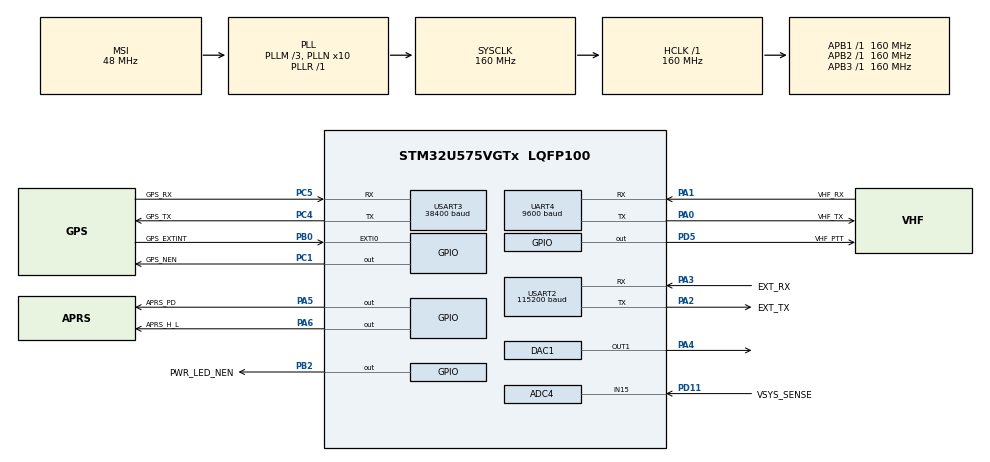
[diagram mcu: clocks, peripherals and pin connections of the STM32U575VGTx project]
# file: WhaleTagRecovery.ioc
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ADC4.NbrOfConversion=1
ADC4.NbrOfConversionFlag=0
ADC4.SelectedChannel=ADC_CHANNEL_15
CORTEX_M33_NS.userName=CORTEX_M33
DAC1.DAC_Channel-DAC_OUT1=DAC_CHANNEL_1
DAC1.DAC_HighFrequency=DAC_HIGH_FREQUENCY_INTERFACE_MODE_DISABLE
DAC1.DAC_OutputBuffer_OUT1-DAC_OUT1=DAC_OUTPUTBUFFER_ENABLE
DAC1.DAC_Trigger-DAC_OUT1=DAC_TRIGGER_T2_TRGO
GPDMA1.CIRCULARMODE_GPDMACH0=ENABLE
GPDMA1.CIRCULARMODE_GPDMACH1=ENABLE
GPDMA1.DESTDATAWIDTH_GPDMACH1=DMA_DEST_DATAWIDTH_WORD
GPDMA1.DESTINC_GPDMACH0=DMA_DINC_INCREMENTED
GPDMA1.DESTINC_GPDMACH1=DMA_DINC_FIXED
GPDMA1.DESTINC_GPDMACH2=DMA_DINC_INCREMENTED
GPDMA1.DIRECTION_GPDMACH1=DMA_MEMORY_TO_PERIPH
GPDMA1.IPHANDLE_GPDMACH0-SIMPLEREQUEST_GPDMACH0=__NULL
GPDMA1.IPHANDLE_GPDMACH1-SIMPLEREQUEST_GPDMACH1=__NULL
GPDMA1.IPHANDLE_GPDMACH2-SIMPLEREQUEST_GPDMACH2=__NULL
GPDMA1.LINKALLOCATEDPORT_CIRCULAR_GPDMACH0=DMA_LINK_ALLOCATED_PORT1
GPDMA1.PRIORITY_GPDMACH2=DMA_LOW_PRIORITY_MID_WEIGHT
GPDMA1.PRIORITY_LL_CIRCULAR_GPDMACH1=DMA_LOW_PRIORITY_HIGH_WEIGHT
GPDMA1.REQUEST_GPDMACH0=GPDMA1_REQUEST_USART3_RX
GPDMA1.REQUEST_GPDMACH1=GPDMA1_REQUEST_DAC1_CH1
GPDMA1.REQUEST_GPDMACH2=GPDMA1_REQUEST_USART2_RX
GPDMA1.SRCDATAWIDTH_GPDMACH1=DMA_SRC_DATAWIDTH_WORD
GPDMA1.SRCINC_GPDMACH1=DMA_SINC_INCREMENTED
GPDMA1.TRANSFERALLOCATEDPORTDEST_GPDMACH2=DMA_DEST_ALLOCATED_PORT1
GPDMA1.TRANSFERALLOCATEDPORTSRC_GPDMACH2=DMA_SRC_ALLOCATED_PORT1
Mcu.Family=STM32U5
Mcu.Name=STM32U575VGTx
Mcu.Package=LQFP100
NVIC.DAC1_IRQn=true\:0\:0\:false\:false\:true\:false\:true\:true\:true
NVIC.GPDMA1_Channel0_IRQn=true\:0\:0\:false\:false\:true\:true\:false\:true\:true
NVIC.GPDMA1_Channel1_IRQn=true\:0\:0\:false\:false\:true\:true\:false\:true\:true
NVIC.GPDMA1_Channel2_IRQn=true\:0\:0\:false\:false\:true\:true\:false\:true\:true
NVIC.PriorityGroup=NVIC_PRIORITYGROUP_4
NVIC.TIM2_IRQn=true\:0\:0\:false\:false\:true\:false\:true\:true\:true
NVIC.TIM6_IRQn=true\:15\:0\:false\:false\:true\:false\:false\:true\:true
NVIC.TimeBase=TIM6_IRQn
NVIC.TimeBaseIP=TIM6
NVIC.USART2_IRQn=true\:0\:0\:false\:false\:true\:false\:true\:true\:true
PA0.GPIO_Label=VHF_TX
PA0.Mode=Asynchronous
PA0.Signal=UART4_TX
PA1.GPIO_Label=VHF_RX
PA1.Mode=Asynchronous
PA1.Signal=UART4_RX
PA13\ (JTMS/SWDIO).Mode=Trace_Asynchronous_SW
PA13\ (JTMS/SWDIO).Signal=DEBUG_JTMS-SWDIO
PA14\ (JTCK/SWCLK).Mode=Trace_Asynchronous_SW
PA14\ (JTCK/SWCLK).Signal=DEBUG_JTCK-SWCLK
PA2.GPIO_Label=EXT_TX
PA2.Mode=Asynchronous
PA2.Signal=USART2_TX
PA3.GPIO_Label=EXT_RX
PA3.Mode=Asynchronous
PA3.Signal=USART2_RX
PA4.Signal=COMP_DAC11_group
PA5.GPIO_Label=APRS_PD
PA5.PinState=GPIO_PIN_RESET
PA5.Signal=GPIO_Output
PA6.GPIO_Label=APRS_H_L
PA6.Signal=GPIO_Output
PB0.GPIO_Label=GPS_EXTINT
PB0.Signal=GPXTI0
PB2.GPIO_Label=PWR_LED_NEN
PB2.PinState=GPIO_PIN_RESET
PB2.Signal=GPIO_Output
PB3\ (JTDO/TRACESWO).Mode=Trace_Asynchronous_SW
PB3\ (JTDO/TRACESWO).Signal=DEBUG_JTDO-SWO
PC1.GPIO_Label=GPS_NEN
PC1.PinState=GPIO_PIN_SET
PC1.Signal=GPIO_Output
PC4.GPIO_Label=GPS_TX
PC4.Mode=Asynchronous
PC4.Signal=USART3_TX
PC5.GPIO_Label=GPS_RX
PC5.Mode=Asynchronous
PC5.Signal=USART3_RX
PD11.GPIO_Label=VSYS_SENSE
PD11.Signal=SharedAnalog_PD11
PD5.GPIO_Label=VHF_PTT
PD5.Signal=GPIO_Output
ProjectManager.HeapSize=0x200
ProjectManager.StackSize=0x400
ProjectManager.TargetToolchain=STM32CubeIDE
RCC.ADCFreq_Value=16000000
RCC.AHBFreq_Value=160000000
RCC.APB1Freq_Value=160000000
RCC.APB1TimFreq_Value=160000000
RCC.APB2Freq_Value=160000000
RCC.APB2TimFreq_Value=160000000
RCC.APB3Freq_Value=160000000
RCC.CortexFreq_Value=160000000
RCC.EPOD_VALUE=48000000
RCC.FLatency=FLASH_LATENCY_4
RCC.HCLKFreq_Value=160000000
RCC.HSE_VALUE=16000000
RCC.HSI48_VALUE=48000000
RCC.HSI_VALUE=16000000
RCC.LSE_VALUE=32768
RCC.LSIDIV_VALUE=32000
RCC.MSICalibrationValue=16
RCC.MSIClockRange=RCC_MSIRANGE_0
RCC.MSI_VALUE=48000000
RCC.PLL1R=1
RCC.PLL2FRACN=0
RCC.PLL2M=3
RCC.PLL2N=8
RCC.PLL3FRACN=0
RCC.PLLFRACN=0
RCC.PLLM=3
RCC.PLLN=10
RCC.PWR_Regulator_Voltage_Scale=PWR_REGULATOR_VOLTAGE_SCALE1
RCC.SYSCLKFreq_VALUE=160000000
RCC.SYSCLKSource=RCC_SYSCLKSOURCE_PLLCLK
RCC.USBFreq_Value=48000000
RCC.VCOOutputFreq_Value=160000000
SH.COMP_DAC11_group.0=DAC1_OUT1,DAC_OUT1
SH.SharedAnalog_PD11.0=GPIO_Analog
SH.SharedAnalog_PD11.1=ADC4_IN15,IN15
THREADX.TX_APP_MEM_POOL_SIZE=20*1024
THREADX.TX_LOW_POWER=1
THREADX.TX_TIMER_TICKS_PER_SECOND=20000
TIM2.PeriodNoDither=45-1
TIM2.Prescaler=16-1
TIM2.TIM_MasterOutputTrigger=TIM_TRGO_UPDATE
UART4.BaudRate=9600
UART4.OverrunDisableParam=UART_ADVFEATURE_OVERRUN_DISABLE
USART2.AutonomousMode=AUTONOMOUS_MODE_DISABLE
USART2.BaudRate=115200
USART2.FIFOMode=FIFOMODE_ENABLE
USART2.VirtualMode-Asynchronous=VM_ASYNC
USART3.AutonomousMode=AUTONOMOUS_MODE_DISABLE
USART3.BaudRate=38400
USART3.FIFOMode=FIFOMODE_ENABLE
USART3.Mode=MODE_TX_RX
USART3.RXFIFOThreshold=RXFIFO_THRESHOLD_1EIGHTHFULL
USART3.TXFIFOThreshold=TXFIFO_THRESHOLD_1EIGHTHFULL
USART3.VirtualMode-Asynchronous=VM_ASYNC
VP_GPDMA1_VS_GPDMACH0.Mode=SIMPLEREQUEST_GPDMACH0
VP_GPDMA1_VS_GPDMACH1.Mode=SIMPLEREQUEST_GPDMACH1
VP_GPDMA1_VS_GPDMACH2.Mode=SIMPLEREQUEST_GPDMACH2
VP_ICACHE_VS_ICACHE.Mode=DirectMappedCache
VP_LPBAMQUEUE_VS_QUEUE.Mode=QUEUEMODE
VP_MEMORYMAP_VS_MEMORYMAP.Mode=CurAppReg
VP_PWR_VS_DBSignals.Mode=DisableDeadBatterySignals
VP_PWR_VS_LPOM.Mode=PowerOptimisation
VP_PWR_VS_SECSignals.Mode=Security/Privilege
VP_PWR_Vdda.Mode=isolationVdda
VP_SYS_VS_tim6.Mode=TIM6
VP_THREADX_VS_RTOSJjThreadXJjCoreJjDefault.Mode=Core_Default
VP_THREADX_VS_RTOSJjThreadXJjLow_Power_Support.Mode=Low_Power_Support
VP_TIM2_VS_ClockSourceINT.Mode=Internal
VP_VREFBUF_V_VREFBUF.Mode=ExternalMode
VREF+.Signal=VREFBUF_OUT
board=custom

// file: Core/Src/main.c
/* USER CODE BEGIN Header */
/**
  ******************************************************************************
  * @file           : main.c
  * @brief          : Main program body
  ******************************************************************************
  * @attention
  *
  * Copyright (c) 2023 STMicroelectronics.
  * All rights reserved.
  *
  * This software is licensed under terms that can be found in the LICENSE file
  * in the root directory of this software component.
  * If no LICENSE file comes with this software, it is provided AS-IS.
  *
  ******************************************************************************
  */
/* USER CODE END Header */
#include "app_threadx.h"
#include "main.h"

/* USER CODE BEGIN Includes */
#include "config.h"
#include "Recovery Inc/Gps.h"
#include "Comms Inc/PiComms.h"
/* USER CODE END Includes */

/* USER CODE BEGIN PM */
#define BOOTLOADER_ADDRESS     0x0BF90000
/* USER CODE END PM */

ADC_HandleTypeDef hadc4;

DAC_HandleTypeDef hdac1;
DMA_NodeTypeDef Node_GPDMA1_Channel1;
DMA_QListTypeDef List_GPDMA1_Channel1;
DMA_HandleTypeDef handle_GPDMA1_Channel1;

TIM_HandleTypeDef htim2;

UART_HandleTypeDef huart4;
UART_HandleTypeDef huart2;
UART_HandleTypeDef huart3;
DMA_HandleTypeDef handle_GPDMA1_Channel2;
DMA_NodeTypeDef Node_GPDMA1_Channel0;
DMA_QListTypeDef List_GPDMA1_Channel0;
DMA_HandleTypeDef handle_GPDMA1_Channel0;

/* USER CODE BEGIN PV */
VHF_HandleTypdeDef vhf = {
	.huart = &huart4,
	.pd = 	{.port = APRS_PD_GPIO_Port,  .pin = APRS_PD_Pin},
	.h_l = 	{.port = APRS_H_L_GPIO_Port, .pin = APRS_H_L_Pin},
	.ptt = 	{.port = VHF_PTT_GPIO_Port,  .pin = VHF_PTT_Pin},
	.state = VHF_STATE_SLEEP,
	.power_level = VHF_POWER_HIGH,
	.config = {
		.tx_freq_MHz = 144.3900f,
		.rx_freq_MHz = 144.3900f,
		.volume = VHF_VOLUME_LEVEL,
	},
};
/* USER CODE END PV */

void SystemClock_Config(void);
static void SystemPower_Config(void);
static void MX_GPIO_Init(void);
static void MX_GPDMA1_Init(void);
static void MX_DAC1_Init(void);
static void MX_TIM2_Init(void);
static void MX_UART4_Init(void);
static void MX_USART3_UART_Init(void);
static void MX_USART2_UART_Init(void);
static void MX_ADC4_Init(void);
static void MX_ICACHE_Init(void);

/* USER CODE BEGIN 0 */
void HAL_UARTEx_RxEventCallback(UART_HandleTypeDef *huart, uint16_t Size){
	//restarts the DMA listening of the UART rx (next 247 bytes)
	if ( huart->Instance == USART2 ) {
		Pi_RxEventCallback(huart, Size);
	} else if(huart->Instance == USART3){
//		GPS_RxEventCallback(huart, Size);
	}
	return;
}

/* USER CODE END 0 */

int main(void)
{

  /* MCU Configuration--------------------------------------------------------*/

  /* Reset of all peripherals, Initializes the Flash interface and the Systick. */
  HAL_Init();

  /* Configure the System Power */
  SystemPower_Config();

  /* Configure the system clock */
  SystemClock_Config();

  /* USER CODE BEGIN SysInit */
#if USB_BOOTLOADER_ENABLED
	// configure PA10 as input
	// read PIN PA10 value, if low enter bootloader
	__HAL_RCC_GPIOA_CLK_ENABLE();
	 GPIO_InitTypeDef GPIO_InitStruct = {
			 .Pin = USB_BOOT_EN_Pin,
			 .Mode = GPIO_MODE_INPUT,
			 .Pull = GPIO_PULLUP
	 };
	 HAL_GPIO_Init(USB_BOOT_EN_GPIO_Port, &GPIO_InitStruct);
	GPIO_PinState bootloader_val = HAL_GPIO_ReadPin(USB_BOOT_EN_GPIO_Port, USB_BOOT_EN_Pin);
	HAL_GPIO_DeInit(USB_BOOT_EN_GPIO_Port, USB_BOOT_EN_Pin);
	__HAL_RCC_GPIOA_CLK_DISABLE(); //disable GPIO clock
	/* JUMP TO SYSTEM MEMORY BOOTLOADER IF PIN IS LOW*/
	if (bootloader_val == GPIO_PIN_RESET) {
		/*Configure GPIO pin Output Level */
		__HAL_RCC_GPIOB_CLK_ENABLE();
		HAL_GPIO_WritePin(PWR_LED_NEN_GPIO_Port, PWR_LED_NEN_Pin, GPIO_PIN_SET);
		GPIO_InitStruct = (GPIO_InitTypeDef){
			.Pin = PWR_LED_NEN_Pin,
			.Mode = GPIO_MODE_OUTPUT_PP,
			.Pull = GPIO_NOPULL,
			.Speed = GPIO_SPEED_FREQ_LOW
		};
		HAL_GPIO_Init(PWR_LED_NEN_GPIO_Port, &GPIO_InitStruct);
		for(int i = 0; i < 2*5; i++){
			HAL_GPIO_TogglePin(PWR_LED_NEN_GPIO_Port, PWR_LED_NEN_Pin);
			HAL_Delay(250);
		}
		HAL_GPIO_DeInit(PWR_LED_NEN_GPIO_Port, PWR_LED_NEN_Pin);
		__HAL_RCC_GPIOB_CLK_DISABLE();
		HAL_DeInit();
		uint32_t BootloaderAddress = *(__IO uint32_t*) (BOOTLOADER_ADDRESS + 4);
		void (* JumpToBootloader)(void) = (void(*)(void)) BootloaderAddress;
		JumpToBootloader();
	}
#endif
  /* USER CODE END SysInit */

  /* Initialize all configured peripherals */
  MX_GPIO_Init();
  MX_GPDMA1_Init();
  MX_DAC1_Init();
  MX_TIM2_Init();
  MX_UART4_Init();
  MX_USART3_UART_Init();
  MX_USART2_UART_Init();
  MX_ADC4_Init();
  MX_ICACHE_Init();
  /* USER CODE BEGIN 2 */
#if BATTERY_MONITOR_ENABLED
  //********************************REQUIRED FOR ADC USE DO NOT REMOVE********************************
  HAL_PWREx_EnableVddA();
#endif
  /* USER CODE END 2 */

  MX_ThreadX_Init();

  /* We should never get here as control is now taken by the scheduler */

  /* Infinite loop */
  while (1)
  {

  }
}

void SystemClock_Config(void)
{
  RCC_OscInitTypeDef RCC_OscInitStruct = {0};
  RCC_ClkInitTypeDef RCC_ClkInitStruct = {0};

  /** Configure the main internal regulator output voltage
  */
  if (HAL_PWREx_ControlVoltageScaling(PWR_REGULATOR_VOLTAGE_SCALE1) != HAL_OK)
  {
    Error_Handler();
  }

  /** Initializes the CPU, AHB and APB buses clocks
  */
  RCC_OscInitStruct.OscillatorType = RCC_OSCILLATORTYPE_HSI|RCC_OSCILLATORTYPE_LSI
                              |RCC_OSCILLATORTYPE_MSI;
  RCC_OscInitStruct.HSIState = RCC_HSI_ON;
  RCC_OscInitStruct.HSICalibrationValue = RCC_HSICALIBRATION_DEFAULT;
  RCC_OscInitStruct.LSIState = RCC_LSI_ON;
  RCC_OscInitStruct.MSIState = RCC_MSI_ON;
  RCC_OscInitStruct.MSICalibrationValue = RCC_MSICALIBRATION_DEFAULT;
  RCC_OscInitStruct.MSIClockRange = RCC_MSIRANGE_0;
  RCC_OscInitStruct.LSIDiv = RCC_LSI_DIV1;
  RCC_OscInitStruct.PLL.PLLState = RCC_PLL_ON;
  RCC_OscInitStruct.PLL.PLLSource = RCC_PLLSOURCE_MSI;
  RCC_OscInitStruct.PLL.PLLMBOOST = RCC_PLLMBOOST_DIV4;
  RCC_OscInitStruct.PLL.PLLM = 3;
  RCC_OscInitStruct.PLL.PLLN = 10;
  RCC_OscInitStruct.PLL.PLLP = 2;
  RCC_OscInitStruct.PLL.PLLQ = 2;
  RCC_OscInitStruct.PLL.PLLR = 1;
  RCC_OscInitStruct.PLL.PLLRGE = RCC_PLLVCIRANGE_1;
  RCC_OscInitStruct.PLL.PLLFRACN = 0;
  if (HAL_RCC_OscConfig(&RCC_OscInitStruct) != HAL_OK)
  {
    Error_Handler();
  }

  /** Initializes the CPU, AHB and APB buses clocks
  */
  RCC_ClkInitStruct.ClockType = RCC_CLOCKTYPE_HCLK|RCC_CLOCKTYPE_SYSCLK
                              |RCC_CLOCKTYPE_PCLK1|RCC_CLOCKTYPE_PCLK2
                              |RCC_CLOCKTYPE_PCLK3;
  RCC_ClkInitStruct.SYSCLKSource = RCC_SYSCLKSOURCE_PLLCLK;
  RCC_ClkInitStruct.AHBCLKDivider = RCC_SYSCLK_DIV1;
  RCC_ClkInitStruct.APB1CLKDivider = RCC_HCLK_DIV1;
  RCC_ClkInitStruct.APB2CLKDivider = RCC_HCLK_DIV1;
  RCC_ClkInitStruct.APB3CLKDivider = RCC_HCLK_DIV1;

  if (HAL_RCC_ClockConfig(&RCC_ClkInitStruct, FLASH_LATENCY_4) != HAL_OK)
  {
    Error_Handler();
  }
}

/**
  * @brief Power Configuration
  * @retval None
  */
static void SystemPower_Config(void)
{

  /*
   * Disable the internal Pull-Up in Dead Battery pins of UCPD peripheral
   */
  HAL_PWREx_DisableUCPDDeadBattery();
}

static void MX_ADC4_Init(void)
{

  ADC_ChannelConfTypeDef sConfig = {0};

  /** Common config
  */
  hadc4.Instance = ADC4;
  hadc4.Init.ClockPrescaler = ADC_CLOCK_ASYNC_DIV1;
  hadc4.Init.Resolution = ADC_RESOLUTION_12B;
  hadc4.Init.DataAlign = ADC_DATAALIGN_RIGHT;
  hadc4.Init.ScanConvMode = ADC_SCAN_DIRECTION_FORWARD;
  hadc4.Init.EOCSelection = ADC_EOC_SINGLE_CONV;
  hadc4.Init.LowPowerAutoPowerOff = ADC_LOW_POWER_NONE;
  hadc4.Init.LowPowerAutoWait = DISABLE;
  hadc4.Init.ContinuousConvMode = DISABLE;
  hadc4.Init.NbrOfConversion = 1;
  hadc4.Init.DiscontinuousConvMode = DISABLE;
  hadc4.Init.ExternalTrigConv = ADC_SOFTWARE_START;
  hadc4.Init.ExternalTrigConvEdge = ADC_EXTERNALTRIGCONVEDGE_NONE;
  hadc4.Init.DMAContinuousRequests = DISABLE;
  hadc4.Init.TriggerFrequencyMode = ADC_TRIGGER_FREQ_LOW;
  hadc4.Init.Overrun = ADC_OVR_DATA_PRESERVED;
  hadc4.Init.SamplingTimeCommon1 = ADC4_SAMPLETIME_1CYCLE_5;
  hadc4.Init.SamplingTimeCommon2 = ADC4_SAMPLETIME_1CYCLE_5;
  hadc4.Init.OversamplingMode = DISABLE;
  if (HAL_ADC_Init(&hadc4) != HAL_OK)
  {
    Error_Handler();
  }

  /** Configure Regular Channel
  */
  sConfig.Channel = ADC_CHANNEL_15;
  sConfig.Rank = ADC4_RANK_CHANNEL_NUMBER;
  sConfig.SamplingTime = ADC4_SAMPLINGTIME_COMMON_1;
  sConfig.OffsetNumber = ADC_OFFSET_NONE;
  sConfig.Offset = 0;
  if (HAL_ADC_ConfigChannel(&hadc4, &sConfig) != HAL_OK)
  {
    Error_Handler();
  }

}

static void MX_DAC1_Init(void)
{

  DAC_ChannelConfTypeDef sConfig = {0};
  DAC_AutonomousModeConfTypeDef sAutonomousMode = {0};

  /** DAC Initialization
  */
  hdac1.Instance = DAC1;
  if (HAL_DAC_Init(&hdac1) != HAL_OK)
  {
    Error_Handler();
  }

  /** DAC channel OUT1 config
  */
  sConfig.DAC_HighFrequency = DAC_HIGH_FREQUENCY_INTERFACE_MODE_DISABLE;
  sConfig.DAC_DMADoubleDataMode = DISABLE;
  sConfig.DAC_SignedFormat = DISABLE;
  sConfig.DAC_SampleAndHold = DAC_SAMPLEANDHOLD_DISABLE;
  sConfig.DAC_Trigger = DAC_TRIGGER_T2_TRGO;
  sConfig.DAC_OutputBuffer = DAC_OUTPUTBUFFER_ENABLE;
  sConfig.DAC_ConnectOnChipPeripheral = DAC_CHIPCONNECT_EXTERNAL;
  sConfig.DAC_UserTrimming = DAC_TRIMMING_FACTORY;
  if (HAL_DAC_ConfigChannel(&hdac1, &sConfig, DAC_CHANNEL_1) != HAL_OK)
  {
    Error_Handler();
  }

  /** Configure Autonomous Mode
  */
  sAutonomousMode.AutonomousModeState = DAC_AUTONOMOUS_MODE_DISABLE;
  if (HAL_DACEx_SetConfigAutonomousMode(&hdac1, &sAutonomousMode) != HAL_OK)
  {
    Error_Handler();
  }

}

static void MX_GPDMA1_Init(void)
{

  /* Peripheral clock enable */
  __HAL_RCC_GPDMA1_CLK_ENABLE();

  /* GPDMA1 interrupt Init */
    HAL_NVIC_SetPriority(GPDMA1_Channel0_IRQn, 0, 0);
    HAL_NVIC_EnableIRQ(GPDMA1_Channel0_IRQn);
    HAL_NVIC_SetPriority(GPDMA1_Channel1_IRQn, 0, 0);
    HAL_NVIC_EnableIRQ(GPDMA1_Channel1_IRQn);
    HAL_NVIC_SetPriority(GPDMA1_Channel2_IRQn, 0, 0);
    HAL_NVIC_EnableIRQ(GPDMA1_Channel2_IRQn);

}

static void MX_ICACHE_Init(void)
{

  /** Enable instruction cache in 1-way (direct mapped cache)
  */
  if (HAL_ICACHE_ConfigAssociativityMode(ICACHE_1WAY) != HAL_OK)
  {
    Error_Handler();
  }
  if (HAL_ICACHE_Enable() != HAL_OK)
  {
    Error_Handler();
  }

}

static void MX_TIM2_Init(void)
{

  TIM_ClockConfigTypeDef sClockSourceConfig = {0};
  TIM_MasterConfigTypeDef sMasterConfig = {0};

  htim2.Instance = TIM2;
  htim2.Init.Prescaler = 16-1;
  htim2.Init.CounterMode = TIM_COUNTERMODE_UP;
  htim2.Init.Period = 44;
  htim2.Init.ClockDivision = TIM_CLOCKDIVISION_DIV1;
  htim2.Init.AutoReloadPreload = TIM_AUTORELOAD_PRELOAD_DISABLE;
  if (HAL_TIM_Base_Init(&htim2) != HAL_OK)
  {
    Error_Handler();
  }
  sClockSourceConfig.ClockSource = TIM_CLOCKSOURCE_INTERNAL;
  if (HAL_TIM_ConfigClockSource(&htim2, &sClockSourceConfig) != HAL_OK)
  {
    Error_Handler();
  }
  sMasterConfig.MasterOutputTrigger = TIM_TRGO_UPDATE;
  sMasterConfig.MasterSlaveMode = TIM_MASTERSLAVEMODE_DISABLE;
  if (HAL_TIMEx_MasterConfigSynchronization(&htim2, &sMasterConfig) != HAL_OK)
  {
    Error_Handler();
  }

}

static void MX_UART4_Init(void)
{

  huart4.Instance = UART4;
  huart4.Init.BaudRate = 9600;
  huart4.Init.WordLength = UART_WORDLENGTH_8B;
  huart4.Init.StopBits = UART_STOPBITS_1;
  huart4.Init.Parity = UART_PARITY_NONE;
  huart4.Init.Mode = UART_MODE_TX_RX;
  huart4.Init.HwFlowCtl = UART_HWCONTROL_NONE;
  huart4.Init.OverSampling = UART_OVERSAMPLING_16;
  huart4.Init.OneBitSampling = UART_ONE_BIT_SAMPLE_DISABLE;
  huart4.Init.ClockPrescaler = UART_PRESCALER_DIV1;
  huart4.AdvancedInit.AdvFeatureInit = UART_ADVFEATURE_RXOVERRUNDISABLE_INIT;
  huart4.AdvancedInit.OverrunDisable = UART_ADVFEATURE_OVERRUN_DISABLE;
  if (HAL_UART_Init(&huart4) != HAL_OK)
  {
    Error_Handler();
  }
  if (HAL_UARTEx_SetTxFifoThreshold(&huart4, UART_TXFIFO_THRESHOLD_1_8) != HAL_OK)
  {
    Error_Handler();
  }
  if (HAL_UARTEx_SetRxFifoThreshold(&huart4, UART_RXFIFO_THRESHOLD_1_8) != HAL_OK)
  {
    Error_Handler();
  }
  if (HAL_UARTEx_DisableFifoMode(&huart4) != HAL_OK)
  {
    Error_Handler();
  }

}

static void MX_USART2_UART_Init(void)
{

  huart2.Instance = USART2;
  huart2.Init.BaudRate = 115200;
  huart2.Init.WordLength = UART_WORDLENGTH_8B;
  huart2.Init.StopBits = UART_STOPBITS_1;
  huart2.Init.Parity = UART_PARITY_NONE;
  huart2.Init.Mode = UART_MODE_TX_RX;
  huart2.Init.HwFlowCtl = UART_HWCONTROL_NONE;
  huart2.Init.OverSampling = UART_OVERSAMPLING_16;
  huart2.Init.OneBitSampling = UART_ONE_BIT_SAMPLE_DISABLE;
  huart2.Init.ClockPrescaler = UART_PRESCALER_DIV1;
  huart2.AdvancedInit.AdvFeatureInit = UART_ADVFEATURE_NO_INIT;
  if (HAL_UART_Init(&huart2) != HAL_OK)
  {
    Error_Handler();
  }
  if (HAL_UARTEx_SetTxFifoThreshold(&huart2, UART_TXFIFO_THRESHOLD_1_8) != HAL_OK)
  {
    Error_Handler();
  }
  if (HAL_UARTEx_SetRxFifoThreshold(&huart2, UART_RXFIFO_THRESHOLD_1_8) != HAL_OK)
  {
    Error_Handler();
  }
  if (HAL_UARTEx_EnableFifoMode(&huart2) != HAL_OK)
  {
    Error_Handler();
  }

}

static void MX_USART3_UART_Init(void)
{

  huart3.Instance = USART3;
  huart3.Init.BaudRate = 38400;
  huart3.Init.WordLength = UART_WORDLENGTH_8B;
  huart3.Init.StopBits = UART_STOPBITS_1;
  huart3.Init.Parity = UART_PARITY_NONE;
  huart3.Init.Mode = UART_MODE_TX_RX;
  huart3.Init.HwFlowCtl = UART_HWCONTROL_NONE;
  huart3.Init.OverSampling = UART_OVERSAMPLING_16;
  huart3.Init.OneBitSampling = UART_ONE_BIT_SAMPLE_DISABLE;
  huart3.Init.ClockPrescaler = UART_PRESCALER_DIV1;
  huart3.AdvancedInit.AdvFeatureInit = UART_ADVFEATURE_NO_INIT;
  if (HAL_UART_Init(&huart3) != HAL_OK)
  {
    Error_Handler();
  }
  if (HAL_UARTEx_SetTxFifoThreshold(&huart3, UART_TXFIFO_THRESHOLD_1_8) != HAL_OK)
  {
    Error_Handler();
  }
  if (HAL_UARTEx_SetRxFifoThreshold(&huart3, UART_RXFIFO_THRESHOLD_1_8) != HAL_OK)
  {
    Error_Handler();
  }
  if (HAL_UARTEx_EnableFifoMode(&huart3) != HAL_OK)
  {
    Error_Handler();
  }

}

static void MX_GPIO_Init(void)
{
  GPIO_InitTypeDef GPIO_InitStruct = {0};

  /* GPIO Ports Clock Enable */
  __HAL_RCC_GPIOE_CLK_ENABLE();
  __HAL_RCC_GPIOC_CLK_ENABLE();
  __HAL_RCC_GPIOH_CLK_ENABLE();
  __HAL_RCC_GPIOA_CLK_ENABLE();
  __HAL_RCC_GPIOB_CLK_ENABLE();
  __HAL_RCC_GPIOD_CLK_ENABLE();

  /*Configure GPIO pin Output Level */
  HAL_GPIO_WritePin(GPS_NEN_GPIO_Port, GPS_NEN_Pin, GPIO_PIN_SET);

  /*Configure GPIO pin Output Level */
  HAL_GPIO_WritePin(GPIOA, APRS_PD_Pin|APRS_H_L_Pin, GPIO_PIN_RESET);

  /*Configure GPIO pin Output Level */
  HAL_GPIO_WritePin(PWR_LED_NEN_GPIO_Port, PWR_LED_NEN_Pin, GPIO_PIN_RESET);

  /*Configure GPIO pin Output Level */
  HAL_GPIO_WritePin(VHF_PTT_GPIO_Port, VHF_PTT_Pin, GPIO_PIN_RESET);

  /*Configure GPIO pins : PE2 PE3 PE4 PE5
                           PE6 PE7 PE8 PE9
                           PE10 PE11 PE12 PE13
                           PE14 PE15 PE0 PE1 */
  GPIO_InitStruct.Pin = GPIO_PIN_2|GPIO_PIN_3|GPIO_PIN_4|GPIO_PIN_5
                          |GPIO_PIN_6|GPIO_PIN_7|GPIO_PIN_8|GPIO_PIN_9
                          |GPIO_PIN_10|GPIO_PIN_11|GPIO_PIN_12|GPIO_PIN_13
                          |GPIO_PIN_14|GPIO_PIN_15|GPIO_PIN_0|GPIO_PIN_1;
  GPIO_InitStruct.Mode = GPIO_MODE_ANALOG;
  GPIO_InitStruct.Pull = GPIO_NOPULL;
  HAL_GPIO_Init(GPIOE, &GPIO_InitStruct);

  /*Configure GPIO pins : PC13 PC14 PC15 PC0
                           PC2 PC3 PC6 PC7
                           PC8 PC9 PC10 PC11
                           PC12 */
  GPIO_InitStruct.Pin = GPIO_PIN_13|GPIO_PIN_14|GPIO_PIN_15|GPIO_PIN_0
                          |GPIO_PIN_2|GPIO_PIN_3|GPIO_PIN_6|GPIO_PIN_7
                          |GPIO_PIN_8|GPIO_PIN_9|GPIO_PIN_10|GPIO_PIN_11
                          |GPIO_PIN_12;
  GPIO_InitStruct.Mode = GPIO_MODE_ANALOG;
  GPIO_InitStruct.Pull = GPIO_NOPULL;
  HAL_GPIO_Init(GPIOC, &GPIO_InitStruct);

  /*Configure GPIO pins : PH0 PH1 PH3 */
  GPIO_InitStruct.Pin = GPIO_PIN_0|GPIO_PIN_1|GPIO_PIN_3;
  GPIO_InitStruct.Mode = GPIO_MODE_ANALOG;
  GPIO_InitStruct.Pull = GPIO_NOPULL;
  HAL_GPIO_Init(GPIOH, &GPIO_InitStruct);

  /*Configure GPIO pin : GPS_NEN_Pin */
  GPIO_InitStruct.Pin = GPS_NEN_Pin;
  GPIO_InitStruct.Mode = GPIO_MODE_OUTPUT_PP;
  GPIO_InitStruct.Pull = GPIO_NOPULL;
  GPIO_InitStruct.Speed = GPIO_SPEED_FREQ_LOW;
  HAL_GPIO_Init(GPS_NEN_GPIO_Port, &GPIO_InitStruct);

  /*Configure GPIO pins : APRS_PD_Pin APRS_H_L_Pin */
  GPIO_InitStruct.Pin = APRS_PD_Pin|APRS_H_L_Pin;
  GPIO_InitStruct.Mode = GPIO_MODE_OUTPUT_PP;
  GPIO_InitStruct.Pull = GPIO_NOPULL;
  GPIO_InitStruct.Speed = GPIO_SPEED_FREQ_LOW;
  HAL_GPIO_Init(GPIOA, &GPIO_InitStruct);

  /*Configure GPIO pins : PA7 PA8 PA9 PA10
                           PA11 PA12 PA15 */
  GPIO_InitStruct.Pin = GPIO_PIN_7|GPIO_PIN_8|GPIO_PIN_9|GPIO_PIN_10
                          |GPIO_PIN_11|GPIO_PIN_12|GPIO_PIN_15;
  GPIO_InitStruct.Mode = GPIO_MODE_ANALOG;
  GPIO_InitStruct.Pull = GPIO_NOPULL;
  HAL_GPIO_Init(GPIOA, &GPIO_InitStruct);

  /*Configure GPIO pin : GPS_EXTINT_Pin */
  GPIO_InitStruct.Pin = GPS_EXTINT_Pin;
  GPIO_InitStruct.Mode = GPIO_MODE_IT_RISING;
  GPIO_InitStruct.Pull = GPIO_NOPULL;
  HAL_GPIO_Init(GPS_EXTINT_GPIO_Port, &GPIO_InitStruct);

  /*Configure GPIO pins : PB1 PB10 PB12 PB13
                           PB14 PB15 PB4 PB5
                           PB6 PB7 PB8 PB9 */
  GPIO_InitStruct.Pin = GPIO_PIN_1|GPIO_PIN_10|GPIO_PIN_12|GPIO_PIN_13
                          |GPIO_PIN_14|GPIO_PIN_15|GPIO_PIN_4|GPIO_PIN_5
                          |GPIO_PIN_6|GPIO_PIN_7|GPIO_PIN_8|GPIO_PIN_9;
  GPIO_InitStruct.Mode = GPIO_MODE_ANALOG;
  GPIO_InitStruct.Pull = GPIO_NOPULL;
  HAL_GPIO_Init(GPIOB, &GPIO_InitStruct);

  /*Configure GPIO pin : PWR_LED_NEN_Pin */
  GPIO_InitStruct.Pin = PWR_LED_NEN_Pin;
  GPIO_InitStruct.Mode = GPIO_MODE_OUTPUT_PP;
  GPIO_InitStruct.Pull = GPIO_NOPULL;
  GPIO_InitStruct.Speed = GPIO_SPEED_FREQ_LOW;
  HAL_GPIO_Init(PWR_LED_NEN_GPIO_Port, &GPIO_InitStruct);

  /*Configure GPIO pins : PD8 PD9 PD10 PD12
                           PD13 PD14 PD15 PD0
                           PD1 PD2 PD3 PD4
                           PD6 PD7 */
  GPIO_InitStruct.Pin = GPIO_PIN_8|GPIO_PIN_9|GPIO_PIN_10|GPIO_PIN_12
                          |GPIO_PIN_13|GPIO_PIN_14|GPIO_PIN_15|GPIO_PIN_0
                          |GPIO_PIN_1|GPIO_PIN_2|GPIO_PIN_3|GPIO_PIN_4
                          |GPIO_PIN_6|GPIO_PIN_7;
  GPIO_InitStruct.Mode = GPIO_MODE_ANALOG;
  GPIO_InitStruct.Pull = GPIO_NOPULL;
  HAL_GPIO_Init(GPIOD, &GPIO_InitStruct);

  /*Configure GPIO pin : VHF_PTT_Pin */
  GPIO_InitStruct.Pin = VHF_PTT_Pin;
  GPIO_InitStruct.Mode = GPIO_MODE_OUTPUT_PP;
  GPIO_InitStruct.Pull = GPIO_NOPULL;
  GPIO_InitStruct.Speed = GPIO_SPEED_FREQ_LOW;
  HAL_GPIO_Init(VHF_PTT_GPIO_Port, &GPIO_InitStruct);

}

/* USER CODE BEGIN 4 */
//Fake timer 2 init function so we can change the period value during runtime
void MX_TIM2_Fake_Init(uint8_t newPeriod){

  TIM_ClockConfigTypeDef sClockSourceConfig = {0};
  TIM_MasterConfigTypeDef sMasterConfig = {0};

  /* USER CODE BEGIN TIM2_Init 1 */

  /* USER CODE END TIM2_Init 1 */
  htim2.Instance = TIM2;
  htim2.Init.Prescaler = 16 - 1;
  htim2.Init.CounterMode = TIM_COUNTERMODE_UP;
  htim2.Init.Period = newPeriod - 1;
  htim2.Init.ClockDivision = TIM_CLOCKDIVISION_DIV1;
  htim2.Init.AutoReloadPreload = TIM_AUTORELOAD_PRELOAD_DISABLE;
  if (HAL_TIM_Base_Init(&htim2) != HAL_OK)
  {
	Error_Handler();
  }
  sClockSourceConfig.ClockSource = TIM_CLOCKSOURCE_INTERNAL;
  if (HAL_TIM_ConfigClockSource(&htim2, &sClockSourceConfig) != HAL_OK)
  {
	Error_Handler();
  }
  sMasterConfig.MasterOutputTrigger = TIM_TRGO_UPDATE;
  sMasterConfig.MasterSlaveMode = TIM_MASTERSLAVEMODE_DISABLE;
  if (HAL_TIMEx_MasterConfigSynchronization(&htim2, &sMasterConfig) != HAL_OK)
  {
	Error_Handler();
  }
}
/* USER CODE END 4 */

void HAL_TIM_PeriodElapsedCallback(TIM_HandleTypeDef *htim)
{
  if (htim->Instance == TIM6) {
    HAL_IncTick();
  }
}

void Error_Handler(void)
{
  __disable_irq();
  while (1)
  {
  }
}
